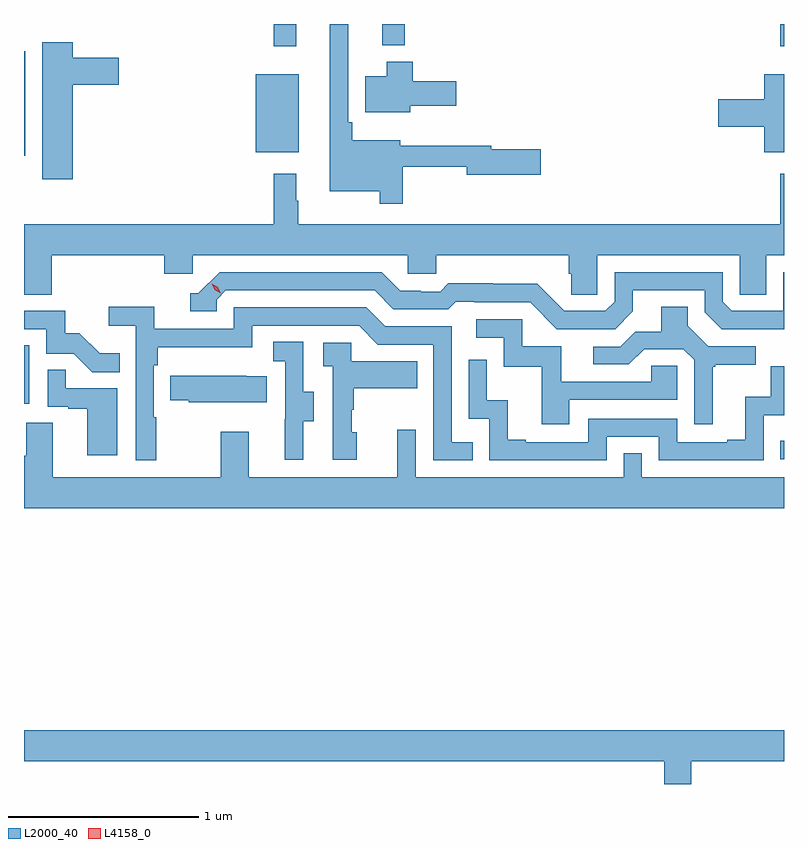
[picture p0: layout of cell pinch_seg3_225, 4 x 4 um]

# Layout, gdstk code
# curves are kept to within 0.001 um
import gdstk
lib = gdstk.Library(unit=1e-6, precision=1e-09)
def R(c, l, rs):  # rectangles x0, y0, x1, y1
    for r in rs: c.add(gdstk.rectangle(r[:2], r[2:], *l))
def P(c, l, *ps):  # polygons
    for p in ps: c.add(gdstk.Polygon(p, *l))
L2000_40 = (2000, 40)
L4158_0 = (4158, 0)

pinch_seg3_225 = lib.new_cell('pinch_seg3_225')
R(pinch_seg3_225, L2000_40, [(930.229,737.139,930.25,737.236), (926.25,737.43,926.278,737.737), (926.25,738.735,926.256,739.286), (927.47,738.755,927.697,739.165), (927.565,739.311,927.683,739.429), (930.229,739.311,930.25,739.429), (928.136,739.316,928.253,739.429)])
P(pinch_seg3_225, L2000_40, [(928.243,738.678),(928.58,738.678),(928.58,738.635),(928.969,738.635),(928.969,738.77),(928.708,738.77),(928.708,738.788),(928.231,738.788),(928.231,738.817),(927.977,738.817),(927.977,738.913),(927.957,738.913),(927.957,739.429),(927.86,739.429),(927.86,738.548),(928.122,738.548),(928.122,738.483),(928.243,738.483)],
  [(926.506,739.109),(926.749,739.109),(926.749,739.251),(926.506,739.251),(926.506,739.333),(926.345,739.333),(926.345,738.612),(926.506,738.612)],
  [(928.282,738.998),(928.525,738.998),(928.525,739.128),(928.295,739.128),(928.295,739.231),(928.16,739.231),(928.16,739.153),(928.046,739.153),(928.046,738.965),(928.282,738.965)],
  [(930.25,739.165),(930.146,739.165),(930.146,739.034),(929.904,739.034),(929.904,738.887),(930.146,738.887),(930.146,738.755),(930.25,738.755)],
  [(926.396,738.212),(926.987,738.212),(926.987,738.114),(927.138,738.114),(927.138,738.212),(928.269,738.212),(928.269,738.114),(928.419,738.114),(928.419,738.212),(929.117,738.212),(929.117,738.114),(929.131,738.114),(929.131,738.004),(929.268,738.004),(929.268,738.212),(930.018,738.212),(930.018,738.004),(930.157,738.004),(930.157,738.212),(930.25,738.212),(930.25,738.64),(930.229,738.64),(930.229,738.376),(927.694,738.376),(927.694,738.5),(927.682,738.5),(927.682,738.64),(927.565,738.64),(927.565,738.376),(926.25,738.376),(926.25,738.004),(926.396,738.004)],
  [(930.25,738.123),(930.246,738.123),(930.246,737.919),(929.976,737.919),(929.928,737.967),(929.928,738.123),(929.358,738.123),(929.358,737.967),(929.31,737.919),(929.094,737.919),(928.952,738.061),(928.716,738.061),(928.716,738.064),(928.483,738.064),(928.441,738.021),(928.338,738.021),(928.338,738.024),(928.231,738.024),(928.132,738.123),(927.279,738.123),(927.168,738.012),(927.125,738.012),(927.125,737.916),(927.264,737.916),(927.264,737.979),(927.312,738.027),(928.095,738.027),(928.194,737.928),(928.483,737.928),(928.522,737.967),(928.621,737.967),(928.621,737.964),(928.914,737.964),(929.055,737.823),(929.361,737.823),(929.455,737.917),(929.455,738.027),(929.832,738.027),(929.832,737.913),(929.922,737.823),(930.25,737.822)],
  [(926.947,737.36),(926.934,737.36),(926.934,737.633),(926.954,737.633),(926.954,737.729),(927.45,737.729),(927.45,737.841),(928.014,737.841),(928.113,737.742),(928.404,737.742),(928.404,737.133),(928.613,737.133),(928.613,737.229),(928.5,737.229),(928.5,737.838),(928.15,737.838),(928.051,737.937),(927.354,737.937),(927.354,737.826),(926.936,737.826),(926.936,737.942),(926.697,737.942),(926.697,737.84),(926.838,737.84),(926.838,737.133),(926.947,737.133)],
  [(929.875,737.625),(929.887,737.625),(929.887,737.636),(930.1,737.636),(930.1,737.733),(929.85,737.733),(929.743,737.84),(929.743,737.942),(929.603,737.942),(929.603,737.81),(929.468,737.81),(929.388,737.73),(929.247,737.73),(929.247,737.637),(929.434,737.637),(929.515,737.718),(929.721,737.718),(929.778,737.661),(929.778,737.322),(929.875,737.322)],
  [(926.753,737.695),(926.649,737.695),(926.542,737.802),(926.466,737.802),(926.466,737.919),(926.25,737.919),(926.25,737.823),(926.367,737.823),(926.367,737.694),(926.511,737.694),(926.609,737.596),(926.753,737.596)],
  [(929.119,737.451),(929.688,737.451),(929.688,737.631),(929.551,737.631),(929.551,737.547),(929.077,737.547),(929.077,737.733),(928.872,737.733),(928.872,737.874),(928.629,737.874),(928.629,737.778),(928.776,737.778),(928.776,737.625),(928.975,737.625),(928.975,737.322),(929.119,737.322)],
  [(927.721,737.338),(927.775,737.338),(927.775,737.493),(927.72,737.493),(927.72,737.756),(927.561,737.756),(927.561,737.653),(927.624,737.653),(927.624,737.349),(927.623,737.349),(927.623,737.136),(927.721,737.136)],
  [(928,737.28),(927.975,737.28),(927.975,737.399),(927.985,737.399),(927.985,737.513),(928.319,737.513),(928.319,737.653),(927.972,737.653),(927.972,737.751),(927.825,737.751),(927.825,737.627),(927.876,737.627),(927.876,737.136),(928,737.136)],
  [(929.316,737.256),(929.592,737.256),(929.592,737.133),(930.144,737.133),(930.144,737.369),(930.25,737.369),(930.25,737.628),(930.18,737.628),(930.18,737.467),(930.047,737.467),(930.047,737.242),(929.951,737.242),(929.951,737.229),(929.688,737.229),(929.688,737.352),(929.22,737.352),(929.22,737.229),(928.891,737.229),(928.891,737.242),(928.796,737.242),(928.796,737.45),(928.686,737.45),(928.686,737.662),(928.59,737.662),(928.59,737.352),(928.698,737.352),(928.698,737.133),(929.316,737.133)],
  [(926.74,737.511),(926.471,737.511),(926.471,737.609),(926.376,737.609),(926.376,737.415),(926.483,737.415),(926.483,737.403),(926.582,737.403),(926.582,737.16),(926.74,737.16)],
  [(927.527,737.575),(927.419,737.575),(927.419,737.578),(927.019,737.578),(927.019,737.449),(927.117,737.449),(927.117,737.438),(927.527,737.438)],
  [(930.25,737.044),(929.502,737.044),(929.502,737.171),(929.406,737.171),(929.406,737.044),(928.311,737.044),(928.311,737.293),(928.214,737.293),(928.214,737.044),(927.433,737.044),(927.433,737.284),(927.286,737.284),(927.286,737.044),(926.401,737.044),(926.401,737.33),(926.261,737.33),(926.261,737.156),(926.25,737.156),(926.25,736.88),(930.25,736.88)],
  [(929.761,735.548),(930.25,735.548),(930.25,735.712),(926.25,735.712),(926.25,735.548),(929.621,735.548),(929.621,735.429),(929.761,735.429)])
P(pinch_seg3_225, L4158_0, [(927.286,738.011),(927.255,738.03),(927.238,738.063),(927.238,738.063),(927.239,738.063),(927.27,738.044),(927.286,738.011),(927.286,738.011)])

lib.write_gds('pinch_seg3_225.gds')
